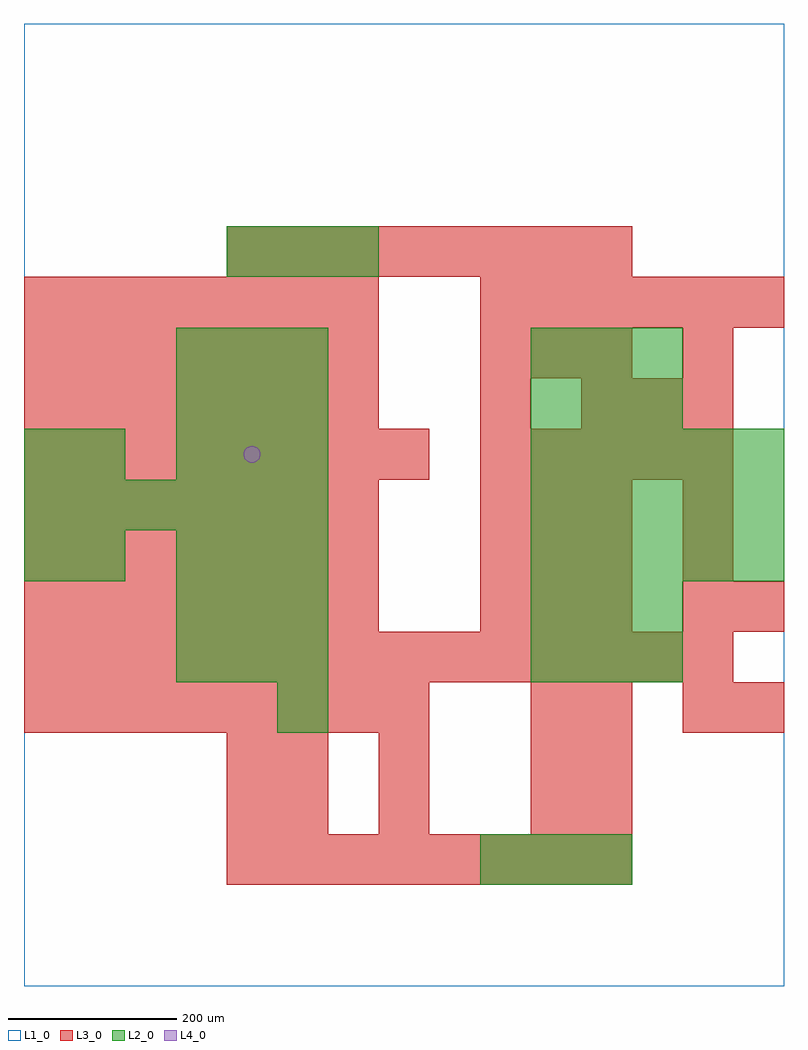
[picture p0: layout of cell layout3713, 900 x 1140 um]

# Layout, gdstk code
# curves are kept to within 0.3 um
import gdstk
lib = gdstk.Library(unit=1e-6, precision=1e-09)
def R(c, l, rs):  # rectangles x0, y0, x1, y1
    for r in rs: c.add(gdstk.rectangle(r[:2], r[2:], *l))
def A(c, l, x, y, w, h, nx, ny, dx, dy):  # array of equal rectangles
    R(c, l, [(x+i*dx, y+j*dy, x+i*dx+w, y+j*dy+h) for i in range(nx) for j in range(ny)])
def P(c, l, *ps):  # polygons
    for p in ps: c.add(gdstk.Polygon(p, *l))
L1_0 = (1, 0)
L2_0 = (2, 0)
L3_0 = (3, 0)
L4_0 = (4, 0)

layout3713 = lib.new_cell('layout3713')
R(layout3713, L1_0, [(0,0,900,1140)])
A(layout3713, L2_0, 540, 120, 60, 60, 3, 1, 60, 0)
A(layout3713, L2_0, 180, 360, 60, 60, 3, 3, 60, 60)
A(layout3713, L2_0, 600, 360, 60, 60, 3, 2, 60, 60)
A(layout3713, L2_0, 600, 480, 60, 60, 5, 3, 60, 60)
A(layout3713, L2_0, 0, 540, 60, 60, 6, 1, 60, 0)
A(layout3713, L2_0, 180, 600, 60, 60, 3, 3, 60, 60)
A(layout3713, L2_0, 600, 660, 60, 60, 3, 2, 60, 60)
A(layout3713, L2_0, 240, 840, 60, 60, 3, 1, 60, 0)
R(layout3713, L2_0, [(300,300,360,360), (0,480,60,540), (60,480,120,540), (0,600,60,660), (60,600,120,660)])
A(layout3713, L3_0, 240, 120, 60, 60, 8, 2, 60, 720)
A(layout3713, L3_0, 600, 180, 60, 60, 1, 3, 0, 60)
A(layout3713, L3_0, 660, 180, 60, 60, 1, 3, 0, 60)
A(layout3713, L3_0, 0, 300, 60, 60, 8, 2, 60, 300)
A(layout3713, L3_0, 0, 360, 60, 60, 14, 1, 60, 0)
A(layout3713, L3_0, 0, 420, 60, 60, 7, 3, 60, 60)
A(layout3713, L3_0, 540, 420, 60, 60, 3, 3, 60, 60)
A(layout3713, L3_0, 780, 420, 60, 60, 1, 3, 0, 60)
A(layout3713, L3_0, 540, 600, 60, 60, 5, 1, 60, 0)
A(layout3713, L3_0, 0, 660, 60, 60, 7, 3, 60, 60)
A(layout3713, L3_0, 660, 660, 60, 60, 3, 1, 60, 0)
A(layout3713, L3_0, 540, 720, 60, 60, 3, 1, 60, 0)
A(layout3713, L3_0, 540, 780, 60, 60, 6, 1, 60, 0)
R(layout3713, L3_0, [(240,180,300,240), (300,180,360,240), (420,180,480,240), (240,240,300,300), (300,240,360,300), (420,240,480,300), (780,300,840,360), (840,300,900,360), (840,420,900,480), (540,660,600,720), (780,720,840,780)])
P(layout3713, L4_0, [(280,630),(279.239,633.827),(277.071,637.071),(273.827,639.239),(270,640),(266.173,639.239),(262.929,637.071),(260.761,633.827),(260,630),(260.761,626.173),(262.929,622.929),(266.173,620.761),(270,620),(273.827,620.761),(277.071,622.929),(279.239,626.173)])

lib.write_gds('layout3713.gds')
